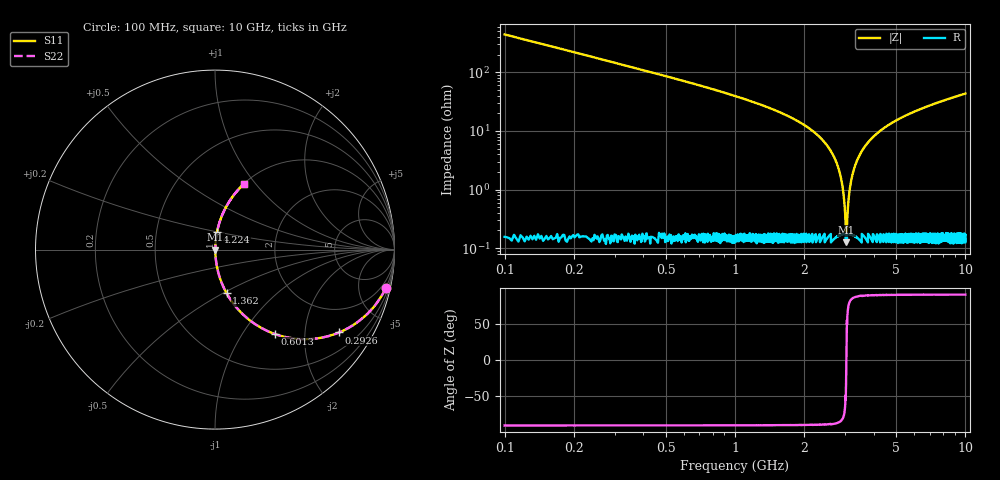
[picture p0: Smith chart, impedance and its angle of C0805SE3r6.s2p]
! AVX Thin Film Operation		Date: April 2012
! Description: Accu-P® Series, Thin Film, SMD, RF Capacitor
! Part Number: 08051J3R6ABTTR
!	100	MHz	-	10.05	GHz
!	Serial	Measurements
#	MHZ	S	MA	R	50
!	S11	S21	S12	S22
!	dB	Phase	dB	Phase	dB	Phase	dB	Phase
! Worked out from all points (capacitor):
!   4010 points, 100 MHz to 10 GHz, reference 50 ohm
!   read as one part in series: C = 3.6 pF near 149.4 MHz
!   lowest |Z| = 125 mohm at 3.044 GHz (marker M1)
!   series resonance near 3.042 GHz, so ESL is about 760 pH
!   S11 on the Smith chart (normalised r, x): 100 MHz: 1.01, -8.83; 292.6 MHz: 1.00, -2.99; 601.3 MHz: 1.00, -1.41; 1.362 GHz: 1.00, -0.52; 4.224 GHz: 1.00, +0.20; 10 GHz: 1.00, +0.87
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100  0.975 -12.8  0.221 77.2  0.221 77.2  0.975 -12.8
292.617  0.831 -33.7  0.555 56.2  0.555 56.2  0.831 -33.7
601.297  0.576 -54.7  0.816 35.2  0.816 35.2  0.576 -54.7
914.916  0.402 -66.1  0.914 23.7  0.914 23.7  0.402 -66.1
1361.886  0.251 -75.1  0.967 14.5  0.967 14.5  0.251 -75.1
1752.058  0.166 -79.9  0.985 9.6  0.985 9.6  0.166 -79.9
2332.377  0.078 -84.4  0.995 4.5  0.995 4.5  0.078 -84.4
2697.855  0.035 -85.5  0.998 2.0  0.998 2.0  0.035 -85.5
2900.349  0.014 -83.0  0.998 0.8  0.998 0.8  0.014 -83.0
2957.146  0.00838 -79.2  0.998 0.5  0.998 0.5  0.00838 -79.2
3013.944  0.00311 -61.0  0.998 0.2  0.998 0.2  0.00311 -61.0
3043.577  0.0015 4.4  0.999 -0.0  0.999 -0.0  0.0015 4.4
3070.741  0.00308 60.8  0.998 -0.2  0.998 -0.2  0.00308 60.8
3130.007  0.00838 79.2  0.998 -0.5  0.998 -0.5  0.00838 79.2
3186.805  0.014 82.9  0.998 -0.8  0.998 -0.8  0.014 82.9
3401.646  0.032 85.5  0.998 -1.9  0.998 -1.9  0.032 85.5
3730.082  0.059 85.2  0.997 -3.4  0.997 -3.4  0.059 85.2
4223.971  0.097 83.6  0.994 -5.5  0.994 -5.5  0.097 83.6
5051.235  0.152 80.7  0.987 -8.7  0.987 -8.7  0.152 80.7
6700.823  0.246 75.4  0.968 -14.2  0.968 -14.2  0.246 75.4
8350.412  0.326 70.7  0.944 -19.1  0.944 -19.1  0.326 70.7
10000  0.397 66.4  0.916 -23.4  0.916 -23.4  0.397 66.4
